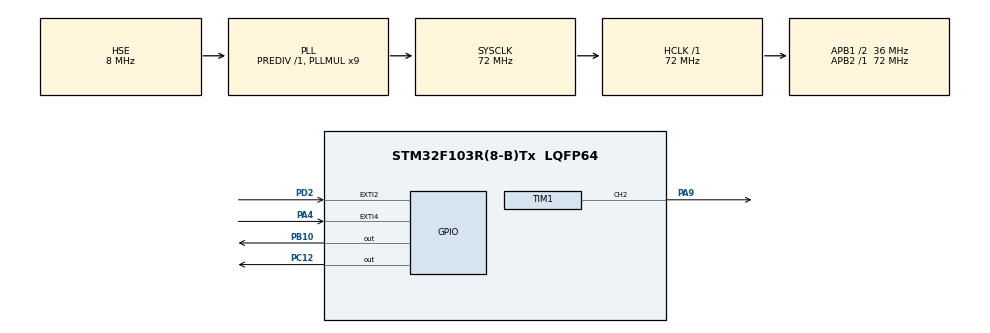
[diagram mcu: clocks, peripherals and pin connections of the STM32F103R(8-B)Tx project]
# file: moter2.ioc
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Mcu.Family=STM32F1
Mcu.Name=STM32F103R(8-B)Tx
Mcu.Package=LQFP64
NVIC.EXTI2_IRQn=true\:0\:0\:false\:false\:true\:true\:true\:true
NVIC.EXTI4_IRQn=true\:0\:0\:false\:false\:true\:true\:true\:true
NVIC.PriorityGroup=NVIC_PRIORITYGROUP_4
PA4.GPIO_ModeDefaultEXTI=GPIO_MODE_IT_FALLING
PA4.Signal=GPXTI4
PA9.Signal=S_TIM1_CH2
PB10.Signal=GPIO_Output
PC12.Signal=GPIO_Output
PC14-OSC32_IN.Mode=LSE-External-Oscillator
PC14-OSC32_IN.Signal=RCC_OSC32_IN
PC15-OSC32_OUT.Mode=LSE-External-Oscillator
PC15-OSC32_OUT.Signal=RCC_OSC32_OUT
PD0-OSC_IN.Mode=HSE-External-Clock-Source
PD0-OSC_IN.Signal=RCC_OSC_IN
PD1-OSC_OUT.Mode=HSE-External-Clock-Source
PD1-OSC_OUT.Signal=RCC_OSC_OUT
PD2.GPIO_ModeDefaultEXTI=GPIO_MODE_IT_FALLING
PD2.Signal=GPXTI2
ProjectManager.HeapSize=0x200
ProjectManager.StackSize=0x400
ProjectManager.TargetToolchain=STM32CubeIDE
RCC.AHBFreq_Value=72000000
RCC.APB1CLKDivider=RCC_HCLK_DIV2
RCC.APB1Freq_Value=36000000
RCC.APB1TimFreq_Value=72000000
RCC.APB2Freq_Value=72000000
RCC.APB2TimFreq_Value=72000000
RCC.HCLKFreq_Value=72000000
RCC.PLLMUL=RCC_PLL_MUL9
RCC.PLLSourceVirtual=RCC_PLLSOURCE_HSE
RCC.SYSCLKFreq_VALUE=72000000
RCC.SYSCLKSource=RCC_SYSCLKSOURCE_PLLCLK
RCC.USBFreq_Value=72000000
SH.S_TIM1_CH2.0=TIM1_CH2,PWM Generation2 CH2
TIM1.AutoReloadPreload=TIM_AUTORELOAD_PRELOAD_ENABLE
TIM1.Channel-PWM\ Generation2\ CH2=TIM_CHANNEL_2
board=custom

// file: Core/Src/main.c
/* USER CODE BEGIN Header */
/**
  ******************************************************************************
  * @file           : main.c
  * @brief          : Main program body
  ******************************************************************************
  * @attention
  *
  * Copyright (c) 2023 STMicroelectronics.
  * All rights reserved.
  *
  * This software is licensed under terms that can be found in the LICENSE file
  * in the root directory of this software component.
  * If no LICENSE file comes with this software, it is provided AS-IS.
  *
  ******************************************************************************
  */
/* USER CODE END Header */
#include "main.h"

/* USER CODE BEGIN PD */
#define MOTOR_CW 0
#define MOTOR_CCW 1
/* USER CODE END PD */

TIM_HandleTypeDef htim1;

/* USER CODE BEGIN PV */
uint16_t arr, ccr2;
uint16_t motor_state;
/* USER CODE END PV */

void SystemClock_Config(void);
static void MX_GPIO_Init(void);
static void MX_TIM1_Init(void);

int main(void)
{

  /* MCU Configuration--------------------------------------------------------*/

  /* Reset of all peripherals, Initializes the Flash interface and the Systick. */
  HAL_Init();

  /* Configure the system clock */
  SystemClock_Config();

  /* Initialize all configured peripherals */
  MX_GPIO_Init();
  MX_TIM1_Init();
  /* USER CODE BEGIN 2 */
  HAL_TIM_PWM_Start(&htim1, TIM_CHANNEL_2);
  arr = __HAL_TIM_GET_AUTORELOAD(&htim1);
  ccr2 = (arr/10)*2;
  __HAL_TIM_SET_COMPARE(&htim1, TIM_CHANNEL_2, ccr2);
  /* USER CODE END 2 */

  /* Infinite loop */
  while (1)
  {

    /* USER CODE BEGIN 3 */
	  switch(motor_state){
	  case MOTOR_CW:
		  HAL_GPIO_WritePin(GPIOB, GPIO_PIN_10, 1);
		  HAL_GPIO_WritePin(GPIOC, GPIO_PIN_12, 0);
		  break;
	  case MOTOR_CCW:
		  HAL_GPIO_WritePin(GPIOB, GPIO_PIN_10, 0);
		  HAL_GPIO_WritePin(GPIOC, GPIO_PIN_12, 1);
		  break;
	  default:
		  HAL_GPIO_WritePin(GPIOB, GPIO_PIN_10, 0);
		  HAL_GPIO_WritePin(GPIOC, GPIO_PIN_12, 0);
		  break;
	  }

  }
  /* USER CODE END 3 */
}

void SystemClock_Config(void)
{
  RCC_OscInitTypeDef RCC_OscInitStruct = {0};
  RCC_ClkInitTypeDef RCC_ClkInitStruct = {0};

  /** Initializes the RCC Oscillators according to the specified parameters
  * in the RCC_OscInitTypeDef structure.
  */
  RCC_OscInitStruct.OscillatorType = RCC_OSCILLATORTYPE_HSE;
  RCC_OscInitStruct.HSEState = RCC_HSE_BYPASS;
  RCC_OscInitStruct.HSEPredivValue = RCC_HSE_PREDIV_DIV1;
  RCC_OscInitStruct.HSIState = RCC_HSI_ON;
  RCC_OscInitStruct.PLL.PLLState = RCC_PLL_ON;
  RCC_OscInitStruct.PLL.PLLSource = RCC_PLLSOURCE_HSE;
  RCC_OscInitStruct.PLL.PLLMUL = RCC_PLL_MUL9;
  if (HAL_RCC_OscConfig(&RCC_OscInitStruct) != HAL_OK)
  {
    Error_Handler();
  }

  /** Initializes the CPU, AHB and APB buses clocks
  */
  RCC_ClkInitStruct.ClockType = RCC_CLOCKTYPE_HCLK|RCC_CLOCKTYPE_SYSCLK
                              |RCC_CLOCKTYPE_PCLK1|RCC_CLOCKTYPE_PCLK2;
  RCC_ClkInitStruct.SYSCLKSource = RCC_SYSCLKSOURCE_PLLCLK;
  RCC_ClkInitStruct.AHBCLKDivider = RCC_SYSCLK_DIV1;
  RCC_ClkInitStruct.APB1CLKDivider = RCC_HCLK_DIV2;
  RCC_ClkInitStruct.APB2CLKDivider = RCC_HCLK_DIV1;

  if (HAL_RCC_ClockConfig(&RCC_ClkInitStruct, FLASH_LATENCY_2) != HAL_OK)
  {
    Error_Handler();
  }
}

static void MX_TIM1_Init(void)
{

  TIM_MasterConfigTypeDef sMasterConfig = {0};
  TIM_OC_InitTypeDef sConfigOC = {0};
  TIM_BreakDeadTimeConfigTypeDef sBreakDeadTimeConfig = {0};

  htim1.Instance = TIM1;
  htim1.Init.Prescaler = 0;
  htim1.Init.CounterMode = TIM_COUNTERMODE_UP;
  htim1.Init.Period = 65535;
  htim1.Init.ClockDivision = TIM_CLOCKDIVISION_DIV1;
  htim1.Init.RepetitionCounter = 0;
  htim1.Init.AutoReloadPreload = TIM_AUTORELOAD_PRELOAD_ENABLE;
  if (HAL_TIM_PWM_Init(&htim1) != HAL_OK)
  {
    Error_Handler();
  }
  sMasterConfig.MasterOutputTrigger = TIM_TRGO_RESET;
  sMasterConfig.MasterSlaveMode = TIM_MASTERSLAVEMODE_DISABLE;
  if (HAL_TIMEx_MasterConfigSynchronization(&htim1, &sMasterConfig) != HAL_OK)
  {
    Error_Handler();
  }
  sConfigOC.OCMode = TIM_OCMODE_PWM1;
  sConfigOC.Pulse = 0;
  sConfigOC.OCPolarity = TIM_OCPOLARITY_HIGH;
  sConfigOC.OCNPolarity = TIM_OCNPOLARITY_HIGH;
  sConfigOC.OCFastMode = TIM_OCFAST_DISABLE;
  sConfigOC.OCIdleState = TIM_OCIDLESTATE_RESET;
  sConfigOC.OCNIdleState = TIM_OCNIDLESTATE_RESET;
  if (HAL_TIM_PWM_ConfigChannel(&htim1, &sConfigOC, TIM_CHANNEL_2) != HAL_OK)
  {
    Error_Handler();
  }
  sBreakDeadTimeConfig.OffStateRunMode = TIM_OSSR_DISABLE;
  sBreakDeadTimeConfig.OffStateIDLEMode = TIM_OSSI_DISABLE;
  sBreakDeadTimeConfig.LockLevel = TIM_LOCKLEVEL_OFF;
  sBreakDeadTimeConfig.DeadTime = 0;
  sBreakDeadTimeConfig.BreakState = TIM_BREAK_DISABLE;
  sBreakDeadTimeConfig.BreakPolarity = TIM_BREAKPOLARITY_HIGH;
  sBreakDeadTimeConfig.AutomaticOutput = TIM_AUTOMATICOUTPUT_DISABLE;
  if (HAL_TIMEx_ConfigBreakDeadTime(&htim1, &sBreakDeadTimeConfig) != HAL_OK)
  {
    Error_Handler();
  }
  HAL_TIM_MspPostInit(&htim1);

}

static void MX_GPIO_Init(void)
{
  GPIO_InitTypeDef GPIO_InitStruct = {0};

  /* GPIO Ports Clock Enable */
  __HAL_RCC_GPIOC_CLK_ENABLE();
  __HAL_RCC_GPIOD_CLK_ENABLE();
  __HAL_RCC_GPIOA_CLK_ENABLE();
  __HAL_RCC_GPIOB_CLK_ENABLE();

  /*Configure GPIO pin Output Level */
  HAL_GPIO_WritePin(GPIOB, GPIO_PIN_10, GPIO_PIN_RESET);

  /*Configure GPIO pin Output Level */
  HAL_GPIO_WritePin(GPIOC, GPIO_PIN_12, GPIO_PIN_RESET);

  /*Configure GPIO pin : PA4 */
  GPIO_InitStruct.Pin = GPIO_PIN_4;
  GPIO_InitStruct.Mode = GPIO_MODE_IT_FALLING;
  GPIO_InitStruct.Pull = GPIO_NOPULL;
  HAL_GPIO_Init(GPIOA, &GPIO_InitStruct);

  /*Configure GPIO pin : PB10 */
  GPIO_InitStruct.Pin = GPIO_PIN_10;
  GPIO_InitStruct.Mode = GPIO_MODE_OUTPUT_PP;
  GPIO_InitStruct.Pull = GPIO_NOPULL;
  GPIO_InitStruct.Speed = GPIO_SPEED_FREQ_LOW;
  HAL_GPIO_Init(GPIOB, &GPIO_InitStruct);

  /*Configure GPIO pin : PC12 */
  GPIO_InitStruct.Pin = GPIO_PIN_12;
  GPIO_InitStruct.Mode = GPIO_MODE_OUTPUT_PP;
  GPIO_InitStruct.Pull = GPIO_NOPULL;
  GPIO_InitStruct.Speed = GPIO_SPEED_FREQ_LOW;
  HAL_GPIO_Init(GPIOC, &GPIO_InitStruct);

  /*Configure GPIO pin : PD2 */
  GPIO_InitStruct.Pin = GPIO_PIN_2;
  GPIO_InitStruct.Mode = GPIO_MODE_IT_FALLING;
  GPIO_InitStruct.Pull = GPIO_NOPULL;
  HAL_GPIO_Init(GPIOD, &GPIO_InitStruct);

  /* EXTI interrupt init*/
  HAL_NVIC_SetPriority(EXTI2_IRQn, 0, 0);
  HAL_NVIC_EnableIRQ(EXTI2_IRQn);

  HAL_NVIC_SetPriority(EXTI4_IRQn, 0, 0);
  HAL_NVIC_EnableIRQ(EXTI4_IRQn);

}

/* USER CODE BEGIN 4 */
void HAL_GPIO_EXTI_Callback(uint16_t GPIO_pin){
	if(!HAL_GPIO_ReadPin(GPIOD, GPIO_PIN_2)){
		motor_state = MOTOR_CCW;
	}
	if(!HAL_GPIO_ReadPin(GPIOA, GPIO_PIN_4)){
		motor_state = MOTOR_CW;
	}
}
/* USER CODE END 4 */

void Error_Handler(void)
{
  __disable_irq();
  while (1)
  {
  }
}
